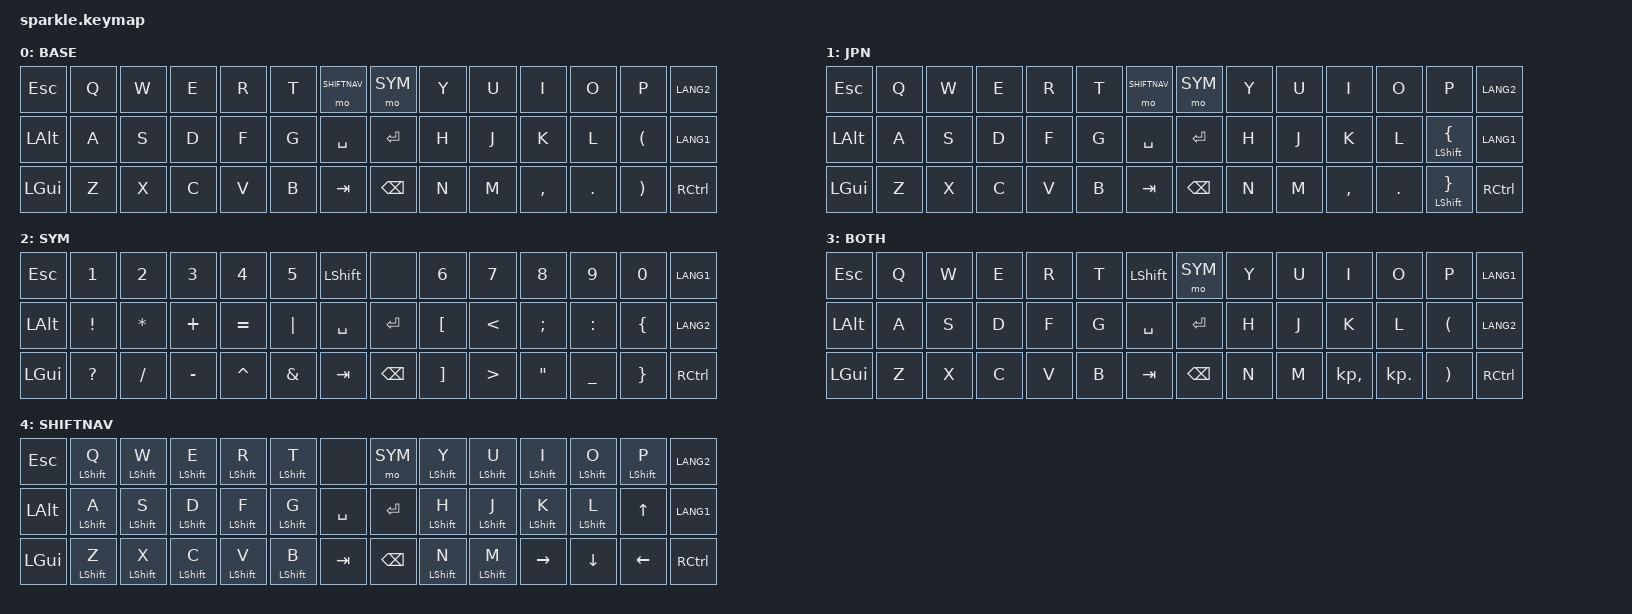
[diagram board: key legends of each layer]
#include <behaviors.dtsi> // ZMKの標準的なビヘイビア定義を読み込み
#include <dt-bindings/zmk/keys.h> // キーコード定義のヘッダー
#include <dt-bindings/zmk/bt.h> // Bluetooth関連のマクロ定義
#include <dt-bindings/zmk/outputs.h> // 出力先の切り替えなどの定義

#define BASE 0        // レイヤー0: 通常キー
#define JPN  1        //NAV  1 // レイヤー1: ナビゲーション用
#define SYM  2        //SYM  2 // レイヤー2: 記号入力用
#define BOTH 3        //ADJ  3 // レイヤー3: 調整・設定用
#define SHIFTNAV 4


#define JP_COMMA COMMA        // ,
#define JP_DOT   DOT          // .

/ {


    keymap {
        compatible = "zmk,keymap";

        base_layer {
            label= "BASE"; // 通常レイヤー
            bindings = <
                    &kp ESC       &kp Q        &kp W        &kp E        &kp R        &kp T        &mo SHIFTNAV     &mo SYM       &kp Y        &kp U        &kp I        &kp O        &kp P        &kp LANG2
                    &kp LEFT_ALT  &kp A        &kp S        &kp D        &kp F        &kp G        &kp SPACE        &kp ENTER     &kp H        &kp J        &kp K        &kp L        &kp LPAR     &kp LANG1
                    &kp LEFT_GUI  &kp Z        &kp X        &kp C        &kp V        &kp B        &kp TAB          &kp BACKSPACE &kp N        &kp M        &kp JP_COMMA    &kp JP_DOT   &kp RPAR     &kp RCTRL
            >;
        };

        jpn_layer {
            label= "JPN"; // ナビゲーション系
            bindings = <
                    &kp ESC       &kp Q        &kp W        &kp E        &kp R        &kp T        &mo SHIFTNAV     &mo SYM       &kp Y        &kp U        &kp I        &kp O        &kp P        &kp LANG2
                    &kp LEFT_ALT  &kp A        &kp S        &kp D        &kp F        &kp G        &kp SPACE        &kp ENTER     &kp H        &kp J        &kp K        &kp L        &mt LSHIFT LBRC     &kp LANG1
                    &kp LEFT_GUI  &kp Z        &kp X        &kp C        &kp V        &kp B        &kp TAB          &kp BACKSPACE &kp N        &kp M        &kp COMMA    &kp DOT      &mt LSHIFT RBRC     &kp RCTRL
            >;
        };

        sim_layer {
            label= "SYM"; // 記号・音声操作レイヤー
            bindings = <
                    &kp ESC       &kp N1        &kp N2        &kp N3        &kp N4        &kp N5        &kp LSHIFT       &none       &kp N6        &kp N7        &kp N8        &kp N9        &kp N0        &kp LANG1
                    &kp LEFT_ALT  &kp EXCL        &kp ASTRK        &kp PLUS        &kp EQUAL        &kp PIPE        &kp SPACE        &kp ENTER     &kp LBKT        &kp LT        &kp SEMI    &kp COLON        &kp LBRC     &kp LANG2
                    &kp LEFT_GUI  &kp QMARK        &kp FSLH        &kp MINUS        &kp CARET        &kp AMPS        &kp TAB          &kp BACKSPACE &kp RBKT        &kp GT        &kp DQT &kp UNDER   &kp RBRC     &kp RCTRL
            >;
        };

        both_layer {
            label= "BOTH"; // システム調整系レイヤー
            bindings = <
                    &kp ESC       &kp Q        &kp W        &kp E        &kp R        &kp T        &kp LSHIFT       &mo SYM       &kp Y        &kp U        &kp I        &kp O        &kp P        &kp LANG1
                    &kp LEFT_ALT  &kp A        &kp S        &kp D        &kp F        &kp G        &kp SPACE        &kp ENTER     &kp H        &kp J        &kp K        &kp L        &kp LPAR     &kp LANG2
                    &kp LEFT_GUI  &kp Z        &kp X        &kp C        &kp V        &kp B        &kp TAB          &kp BACKSPACE &kp N        &kp M        &kp KP_COMMA &kp KP_DOT   &kp RPAR     &kp RCTRL
            >;
        };


        shiftnav_layer {
            label = "SHIFTNAV";
            bindings = <
                &kp ESC          &mt LSHIFT Q   &mt LSHIFT W   &mt LSHIFT E   &mt LSHIFT R   &mt LSHIFT T   &none        &mo SYM        &mt LSHIFT Y   &mt LSHIFT U    &mt LSHIFT I    &mt LSHIFT O   &mt LSHIFT P   &kp LANG2
                &kp LEFT_ALT     &mt LSHIFT A   &mt LSHIFT S   &mt LSHIFT D   &mt LSHIFT F   &mt LSHIFT G   &kp SPACE    &kp ENTER      &mt LSHIFT H   &mt LSHIFT J    &mt LSHIFT K    &mt LSHIFT L   &kp UP         &kp LANG1
                &kp LEFT_GUI     &mt LSHIFT Z   &mt LSHIFT X   &mt LSHIFT C   &mt LSHIFT V   &mt LSHIFT B   &kp TAB      &kp BACKSPACE  &mt LSHIFT N   &mt LSHIFT M    &kp RIGHT       &kp DOWN        &kp LEFT      &kp  RCTRL
            >;
        };

    };
};
